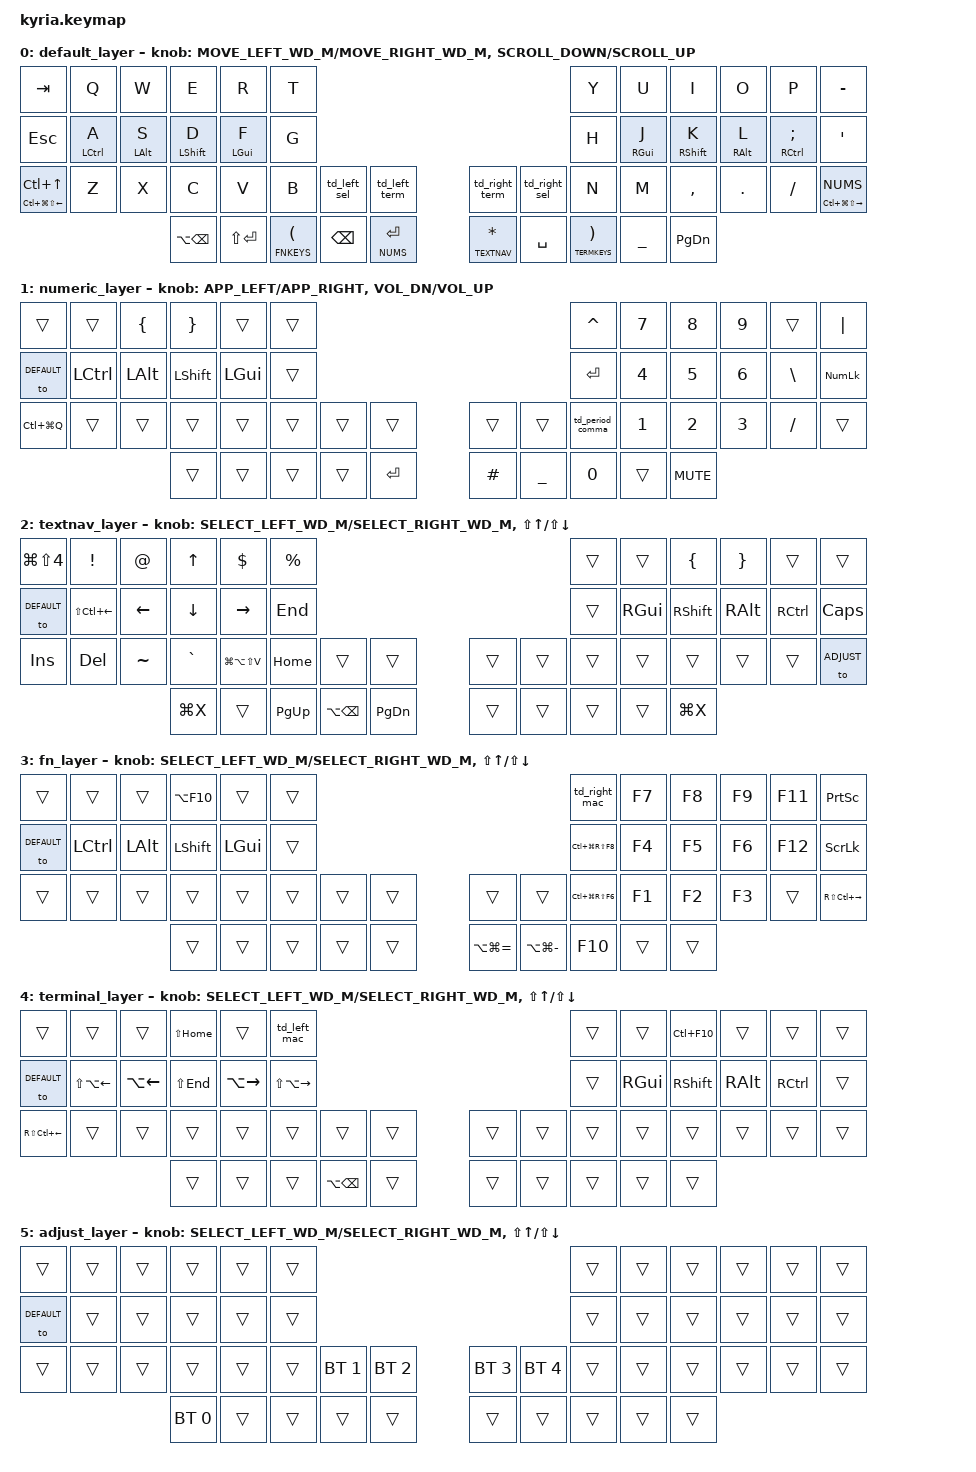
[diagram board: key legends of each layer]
/*
 * Copyright (c) 2020 The ZMK Contributors
 *
 * SPDX-License-Identifier: MIT
 */

#include <behaviors.dtsi>
#include <dt-bindings/zmk/keys.h>
#include <dt-bindings/zmk/bt.h>
#include <dt-bindings/zmk/mouse.h>

#define DEFAULT 	0
#define NUMS   		1
#define TEXTNAV   	2
#define FNKEYS   	3
#define TERMKEYS   	4
#define ADJUST		5

// Key defines for easier reading

// Windowing System Shorcuts -- Mac-based but can be easily reprogrammed on Linux to mean these things

#define SCREENSHOT      LG(LS(N4)) //screenshot
#define FINDER          LG(LA(SPACE)) //open the search bar for finding apps, docs in-computer, etc
#define SHOW_WINDOWS    LC(UP) //'Expose' on Mac, overview on linux. Just all the windows
#define WINDOW_LEFT 	LC(LG(LS(LEFT))) //custom shortcut for this feature -- make window take up 50% left screen (using gui and ctl to make it os agnostic)
#define WINDOW_RIGHT 	LC(LG(LS(RIGHT))) //custom shortcut for this feature -- make window take up 50% right screen (using gui and ctl to make it os agnostic)/fully custom shortcut, using ctl and gui keys so will need them both irrespective of os
#define SHOW_APP_WINDOWS LC(DOWN) 
#define LOCK_SCREEN     LC(LG(Q)) //manually set this on linux to match osx default
#define EMOJI_KBD       LC(LG(SPACE)) //manually set this on linux to match osx default, with 'emote' on linux and a custom shortcut (probably better to use compose feature)
#define APP_LEFT		LG(TAB)
#define APP_RIGHT		LS(LG(TAB))
#define CALCULATOR      RS(LG(LC(FSLH))) // arbitrary shortcut
#define ZOOM_IN         LA(LG(EQUAL)) // mac code zoom in
#define ZOOM_OUT        LA(LG(MINUS)) // mac code zoom out
#define SWITCH_APP_WINDOWS LC(GRAVE) //mac code
#define OPEN_TERMINAL_HERE LC(F10)

// Terminal Shortcuts, should be the same in mac and linux

#define MOVE_LEFT_TERMINAL LA(LEFT) //move cursor one word left on the terminal... does not work if .inputrc is set to use vim bindings!
#define MOVE_RIGHT_TERMINAL LA(RIGHT) //move cursor one word left on the terminal... does not work if .inputrc is set to use vim bindings!
#define DEL_WORD_TERMINAL LA(BSPC) // delete one word back on terminal ... does not work if .inputrc is set to use vim bindings!

// Linux-based

#define COMPOSE_KEY    SLCK //manually set on linux, to create chars via .Xcompose ()

#define DEL_WORD_L 			LA(BSPC)//delete a word
#define SELECT_LEFT_WD_L 	LS(LC(LEFT))// select word left of cursor
#define SELECT_RIGHT_WD_L 	LS(LC(RIGHT))// select word right of cursor
#define SELECT_LEFT_LINE_L 	LS(HOME)// select all from left of cursor to beginning of line
#define SELECT_RIGHT_LINE_L LS(END)// select all from right of cursor to end of line
#define MOVE_LEFT_WD_L 		LC(LEFT)// move one word to the left
#define MOVE_RIGHT_WD_L 	LC(RIGHT)// move one word to the right
#define MOVE_LEFT_LINE_L 	HOME// move to beginning of line
#define MOVE_RIGHT_LINE_L 	END// move to end of line
#define PASTE_NOSTYLE_L 	LC(LS(V))// paste without formatting
#define MOVE_BEGIN_LINE_TERMINAL_L HOME// move to the beginning of the line in the terminal
#define MOVE_END_LINE_TERMINAL_L END// move to the end of the line in the terminal

// Linux-only
#define MAX_VERTICAL LC(LG(RS(F8)))
#define MAX_HORIZONTAL LC(LG(RS(F6)))
#define TOG_WINDOW_STATE LA(F10)
#define SEND_WINDOW_LEFT RS(LC(LEFT))
#define SEND_WINDOW_RIGHT RS(LC(RIGHT))


#define CUT_L	LC(X)
// Mac-based

#define SHOW_APP_WINDOWS LC(DOWN) 
#define EURO_MAC            LA(LS(N2))
#define COMPOSE_MAC    F13 // using some mac tricks to get this to work as xcompose

#define DEL_WORD_M 			LA(BSPC)//delete a word
#define SELECT_LEFT_WD_M 	LS(LA(LEFT))// select word left of cursor
#define SELECT_RIGHT_WD_M 	LS(LA(RIGHT))// select word right of cursor
#define SELECT_LEFT_LINE_M 	LS(LC(LEFT))// select all from left of cursor to beginning of line
#define SELECT_RIGHT_LINE_M LS(LC(RIGHT))// select all from right of cursor to end of line
#define MOVE_LEFT_WD_M 		LA(LEFT)// move one word to the left
#define MOVE_RIGHT_WD_M 	LA(RIGHT)// move one word to the right
#define MOVE_LEFT_LINE_M 	LG(LEFT)// move to beginning of line
#define MOVE_RIGHT_LINE_M 	LG(RIGHT)// move to end of line
#define PASTE_NOSTYLE_M 	LG(LA(LS(V)))// paste without formatting
#define MOVE_BEGIN_LINE_TERMINAL_M LS(HOME)// move to the beginning of the line in the terminal
#define MOVE_END_LINE_TERMINAL_M LS(END)// move to the end of the line in the terminal

#define CUT_M	LG(X)

//mouse
&mmv {
  acceleration-exponent = <1>;      // 1
  time-to-max-speed-ms = <1500>;    // 40
  delay-ms = <0>;                   // 0
};

&mwh {
  acceleration-exponent = <1>;      // 0
  time-to-max-speed-ms = <5000>;    // 40
  delay-ms = <0>;                   // 10
};


// make this behave like ignore-mod-tap-interrupt on QMK
&mt {    
	tapping-term-ms = <200>;
	flavor = "tap-preferred";
};

// when using caps word, what should still be part of the 'word'?
&caps_word {  
	continue-list = <UNDERSCORE MINUS>;
};

// Templates:

// transparent template for new layers
//			bindings = <
//	&trans   &trans &trans &trans &trans &trans                                                &trans   &trans &trans &trans &trans &trans 
//	&trans   &trans &trans &trans &trans &trans                                               &trans   &trans &trans &trans &trans &trans 
//	&trans   &trans &trans &trans &trans &trans &kp LSHFT &kp LSHFT        &kp LSHFT &kp LSHFT &trans   &trans &trans &trans &trans &trans 
//	                 &trans &trans &trans &trans &trans        &trans &trans &trans &trans &trans
//			>;

/ {
	    behaviors {
            //mouse
            inc_dec_mwh: behavior_sensor_rotate_mouse_wheel {
			compatible = "zmk,behavior-sensor-rotate-var";
			label = "ENC_MOUSE_WHEEL";
			#sensor-binding-cells = <2>;
         	bindings = <&mwh>, <&mwh>;
		};

	    inc_dec_mmv: behavior_sensor_rotate_mouse_movement {
			compatible = "zmk,behavior-sensor-rotate-var";
			label = "ENC_MOUSE_MOVEMENT";
			#sensor-binding-cells = <2>;
         	bindings = <&mmv>, <&mmv>;
		};
            fast_shift: fast_shift { // this is similar to permissive hold on QMK, better for shift in particular
                compatible = "zmk,behavior-hold-tap";
                label = "fast_shift";
                #binding-cells = <2>;
                tapping_term_ms = <200>;
                quick_tap_ms = <0>;
                flavor = "balanced";
                bindings = <&kp>, <&kp>;
            };
			right_layer_tap: right_layer_tap { //layer-tap behavior, but switch layers on TAP, and send keypress on HOLD
                compatible = "zmk,behavior-hold-tap";
                label = "right_layer_tap";
                #binding-cells = <2>;
                tapping_term_ms = <200>;
                quick_tap_ms = <0>;
                flavor = "balanced";
                bindings = <&kp>, <&to>;
            };
			td_left_mac: tap_dance_left_mac {
            	compatible = "zmk,behavior-tap-dance";
            	label = "TAP_DANCE_LEFT_MAC";
            	#binding-cells = <0>;
            	tapping-term-ms = <200>;
            	bindings = <&kp MOVE_LEFT_LINE_M>, <&kp CARET>;
        	};
			td_right_mac: tap_dance_right_mac {
            	compatible = "zmk,behavior-tap-dance";
            	label = "TAP_DANCE_RIGHT_MAC";
            	#binding-cells = <0>;
            	tapping-term-ms = <200>;
            	bindings = <&kp MOVE_RIGHT_LINE_M>, <&kp DOLLAR>;
        	};
			td_period_comma: td_period_comma {
            	compatible = "zmk,behavior-tap-dance";
            	label = "TAP_DANCE_PERIOD_COMMA";
            	#binding-cells = <0>;
            	tapping-term-ms = <200>;
            	bindings = <&kp PERIOD>, <&kp COMMA>;
        	};
			td_left_sel: td_left_sel {
            	compatible = "zmk,behavior-tap-dance";
            	label = "TAP_DANCE_LEFT_SELECT";
            	#binding-cells = <0>;
            	tapping-term-ms = <200>;
            	bindings = <&kp SELECT_LEFT_WD_M >, <&kp SELECT_LEFT_LINE_M>;
        	};
			td_right_sel: td_right_sel {
            	compatible = "zmk,behavior-tap-dance";
            	label = "TAP_DANCE_RIGHT_SELECT";
            	#binding-cells = <0>;
            	tapping-term-ms = <200>;
            	bindings = <&kp SELECT_RIGHT_WD_M>, <&kp SELECT_RIGHT_LINE_M>;
        	};
			td_left_term: td_left_term {
            	compatible = "zmk,behavior-tap-dance";
            	label = "TAP_DANCE_LEFT_TERMINAL";
            	#binding-cells = <0>;
            	tapping-term-ms = <200>;
            	bindings = <&kp MOVE_LEFT_TERMINAL >, <&kp MOVE_BEGIN_LINE_TERMINAL_M>;
        	};
			td_right_term: td_right_term {
            	compatible = "zmk,behavior-tap-dance";
            	label = "TAP_DANCE_RIGHT_TERMINAL";
            	#binding-cells = <0>;
            	tapping-term-ms = <200>;
            	bindings = <&kp MOVE_RIGHT_TERMINAL>, <&kp MOVE_END_LINE_TERMINAL_M>;
        	};
        };

	macros {
		vim_paste: vim_paste  {
			label = "VIM_PASTE";
			compatible = "zmk,behavior-macro";
            #binding-cells = <0>;
			bindings
                = <&macro_tap &kp ESC &kp DQT &kp PLUS &kp P &kp I>
                ;
		};
		adot: adot  {
			label = "A-with-umlaut";
			compatible = "zmk,behavior-macro";
            #binding-cells = <0>;
			bindings
                = <&macro_press &kp LALT>,
				<&macro_tap &kp U>,
				<&macro_release &kp LALT>,
				<&macro_tap &kp A>
                ;
		};
		odot: odot  {
			label = "O-with-umlaut";
			compatible = "zmk,behavior-macro";
            #binding-cells = <0>;
			bindings
                = <&macro_press &kp LALT>,
				<&macro_tap &kp U>,
				<&macro_release &kp LALT>,
				<&macro_tap &kp O>
                ;
		};

	};

    combos {
        compatible = "zmk,combos";

		combo_bt_clear {
            timeout-ms = <30>;
            key-positions = <30 31 32 33>;
            bindings = <&bt BT_CLR>;
        };

		combo_finder{
			timeout-ms = <30>;
			key-positions = <43 46>;
			bindings = <&kp FINDER>;
		};

		combo_compose {
			timeout-ms = <30>;
			key-positions = <42 47>;
			bindings = <&kp COMPOSE_MAC>;
		};

		combo_calculator {
			timeout-ms = <30>;
			key-positions = <41 48>;
			bindings = <&kp CALCULATOR>;
		};

		combo_vim_paste {
			timeout-ms = <30>;
			key-positions = <36 37>;
			bindings = <&vim_paste>;
		};

		combo_acircle {
			timeout-ms = <30>;
			key-positions = <42 47 13>;
			bindings = <&kp LA(A)>;
		};

		combo_adot {
			timeout-ms = <30>;
			key-positions = <42 47 21>;
			bindings = <&adot>;
		};

		combo_odot {
			timeout-ms = <30>;
			key-positions = <42 47 22>;
			bindings = <&odot>;
		};

		combo_plus {
			timeout-ms = <30>;
			key-positions = <8 7>;
			bindings = <&kp PLUS>;
		};		
		
		combo_equals {
			timeout-ms = <30>;
			key-positions = <8 9>;
			bindings = <&kp EQUAL>;
		};
		
		combo_ampersand {
			timeout-ms = <30>;
			key-positions = <17 18>;
			bindings = <&kp AMPS>;
		};
		
		combo_underscore {
			timeout-ms = <30>;
			key-positions = <20 40>;
			bindings = <&kp UNDERSCORE>;
		};

		combo_scrollup {
			timeout-ms = <30>;
			key-positions = <2 3>;
			bindings = <&mwh SCROLL_UP>;
		};
		
		combo_scrolldown {
			timeout-ms = <30>;
			key-positions = <27 28>;
			bindings = <&mwh SCROLL_DOWN>;
		};
		
		combo_scrollleft {
			timeout-ms = <30>;
			key-positions = <14 15>;
			bindings = <&mwh SCROLL_LEFT>;
		};
		
		combo_scrollright {
			timeout-ms = <30>;
			key-positions = <15 16>;
			bindings = <&mwh SCROLL_RIGHT>;
		};
		
		combo_emoji {
			timeout-ms = <30>;
			key-positions = <3 8>;
			bindings = <&kp EMOJI_KBD>;
		};

    };

	keymap {
		compatible = "zmk,keymap";

		default_layer { // Mac-based with ctrl, alt, shift, gui order... linux preferred swaps ctrl and gui

		bindings = <
	&kp TAB   &kp Q  &kp W &kp E  &kp R &kp T                                                 &kp Y &kp U  &kp I  &kp O   &kp P    &kp MINUS
	&kp ESC   &mt LCTRL A &mt LALT S &fast_shift LSHFT D &mt LGUI F &kp G                   &kp H &mt RGUI J  &fast_shift RSHFT K  &mt RALT L   &mt RCTRL SEMI &kp SQT
	&mt WINDOW_LEFT SHOW_WINDOWS &kp Z &kp X &kp C &kp V &kp B &td_left_sel &td_left_term         	&td_right_term &td_right_sel &kp N &kp M &kp COMMA &kp DOT &kp FSLH &right_layer_tap WINDOW_RIGHT NUMS
	                 &kp DEL_WORD_M &kp LS(ENTER) &lt FNKEYS LPAR &kp BSPC &lt NUMS ENTER         						  &lt TEXTNAV STAR  &kp SPACE &lt TERMKEYS RPAR &kp UNDERSCORE &kp PG_DN
			>;

			//sensor-bindings = <&inc_dec_kp LEFT RIGHT &inc_dec_kp UP DOWN>;
		      //sensor-bindings = <&inc_dec_kp MOVE_LEFT_WD_M MOVE_RIGHT_WD_M &inc_dec_kp UP DOWN>;
			sensor-bindings = <&inc_dec_kp MOVE_LEFT_WD_M MOVE_RIGHT_WD_M &inc_dec_mwh SCROLL_DOWN SCROLL_UP>;
		};

		numeric_layer {
			bindings = <
	&trans   &trans &kp LBRC &kp RBRC &trans &trans                                                         &kp CARET &kp N7 &kp N8 &kp N9 &trans &kp PIPE 
	&to DEFAULT   &kp LCTRL &kp LALT &kp LSHFT &kp LGUI &trans                                              &kp ENTER   &kp N4 &kp N5 &kp N6 &kp BSLH &kp KP_NLCK 
	&kp LOCK_SCREEN   &trans &trans &trans &trans &trans &trans &trans                  &trans &trans &td_period_comma &kp N1 &kp N2 &kp N3 &kp FSLH &trans 
	                 &trans &trans &trans &trans &kp ENTER        			 &kp HASH &kp UNDERSCORE &kp N0 &trans &kp C_MUTE
			>;

			sensor-bindings = <&inc_dec_kp APP_LEFT APP_RIGHT &inc_dec_kp C_VOL_DN C_VOL_UP>;
		};

		textnav_layer {
			bindings = <
	&kp SCREENSHOT   &kp EXCL &kp AT &kp UP &kp DOLLAR &kp PERCENT                        &trans &trans &kp LBRC &kp RBRC &trans &trans 
	&to DEFAULT   &kp SELECT_LEFT_LINE_M &kp LEFT &kp DOWN &kp RIGHT &kp END                             &trans   &kp RGUI &kp RSHFT &kp RALT &kp RCTRL &kp CAPS 
	&kp INS   &kp DEL &kp TILDE &kp GRAVE &kp PASTE_NOSTYLE_M  &kp HOME &trans &trans                         &trans &trans &trans   &trans &trans &trans &trans &to ADJUST 
	                 &kp CUT_M &trans &kp PG_UP &kp DEL_WORD_M &kp PG_DN         				&trans &trans &trans &trans &kp CUT_M
			>;

			sensor-bindings = <&inc_dec_kp SELECT_LEFT_WD_M SELECT_RIGHT_WD_M &inc_dec_kp LS(UP) LS(DOWN)>;
		};

		fn_layer {
			bindings = <
	&trans &trans &trans &kp TOG_WINDOW_STATE &trans &trans                              &td_right_mac &kp F7 &kp F8 &kp F9 &kp F11 &kp PSCRN
	&to DEFAULT   &kp LCTRL &kp LALT &kp LSHFT &kp LGUI &trans                             &kp MAX_VERTICAL &kp F4 &kp F5 &kp F6 &kp F12 &kp SLCK 
	&trans &trans &trans &trans &trans &trans &trans &trans                         &trans &trans &kp MAX_HORIZONTAL &kp F1 &kp F2 &kp F3 &trans &kp SEND_WINDOW_RIGHT
	                 &trans &trans &trans &trans &trans        				 &kp ZOOM_IN &kp ZOOM_OUT &kp F10 &trans &trans
			>;

			sensor-bindings = <&inc_dec_kp SELECT_LEFT_WD_M SELECT_RIGHT_WD_M &inc_dec_kp LS(UP) LS(DOWN)>;
		};

		terminal_layer {
			bindings = <
	&trans &trans &trans &kp MOVE_BEGIN_LINE_TERMINAL_M &trans &td_left_mac                                                              &trans &trans &kp OPEN_TERMINAL_HERE &trans &trans &trans
	&to DEFAULT   &kp SELECT_LEFT_WD_M &kp MOVE_LEFT_TERMINAL &kp MOVE_END_LINE_TERMINAL_M &kp MOVE_RIGHT_TERMINAL &kp SELECT_RIGHT_WD_M                             &trans &kp RGUI &kp RSHFT &kp RALT &kp RCTRL &trans 
	&kp SEND_WINDOW_LEFT &trans &trans &trans &trans &trans &trans &trans                         &trans &trans &trans &trans &trans &trans &trans &trans 
	                 &trans &trans &trans &kp DEL_WORD_TERMINAL  &trans        				 &trans &trans &trans &trans &trans
			>;

			sensor-bindings = <&inc_dec_kp SELECT_LEFT_WD_M SELECT_RIGHT_WD_M &inc_dec_kp LS(UP) LS(DOWN)>;
		};

		adjust_layer {
					bindings = <
	&trans   &trans &trans &trans &trans &trans                                                &trans   &trans &trans &trans &trans &trans 
	&to DEFAULT   &trans &trans &trans &trans &trans                                               &trans   &trans &trans &trans &trans &trans 
	&trans   &trans &trans &trans &trans &trans &bt BT_SEL 1 &bt BT_SEL 2        &bt BT_SEL 3 &bt BT_SEL 4 &trans   &trans &trans &trans &trans &trans 
	                 &bt BT_SEL 0 &trans &trans &trans &trans                    &trans &trans &trans &trans &trans
			>;
			sensor-bindings = <&inc_dec_kp SELECT_LEFT_WD_M SELECT_RIGHT_WD_M &inc_dec_kp LS(UP) LS(DOWN)>;
		};

	};

	};
